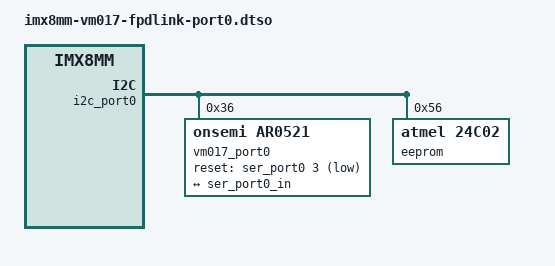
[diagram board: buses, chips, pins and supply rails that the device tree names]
// SPDX-License-Identifier: (GPL-2.0+ OR MIT)
/*
 * Copyright (C) 2022 PHYTEC Messtechnik GmbH
 * Author: Stefan Riedmueller <s.riedmueller@phytec.de>
 */

/dts-v1/;
/plugin/;

#include "imx8mm-fpdlink-port0.dtsi"
#include <dt-bindings/gpio/gpio.h>

/ {
	compatible = "phytec,imx8mm-phyboard-polis";
};

&i2c_port0 {
	vm017_port0: camera@36 {
		#address-cells = <0x1>;
		#size-cells = <0x0>;

		compatible = "onsemi,ar0521";
		reg = <0x36>;
		clocks = <&ser_port0>;
		clock-names = "ext";

		reset-gpios = <&ser_port0 3 GPIO_ACTIVE_LOW>;

		port@0 {
			reg = <0>;

			vm017_port0_ep: endpoint {
				remote-endpoint = <&ser_port0_in>;
				bus-type = <4>; /* MIPI CSI-2 D-PHY */
				link-frequencies = /bits/ 64 <288000000>;
				data-lanes = <1 2 3 4>;
				clock-lanes = <0>;
				clock-noncontinuous = <1>;
			};
		};
	};

	eeprom@56 {
		compatible = "atmel,24c02";
		reg = <0x56>;
		pagesize = <16>;
	};
};

&ser_port0_in {
	remote-endpoint = <&vm017_port0_ep>;
	data-lanes = <1 2 3 4>;
};
